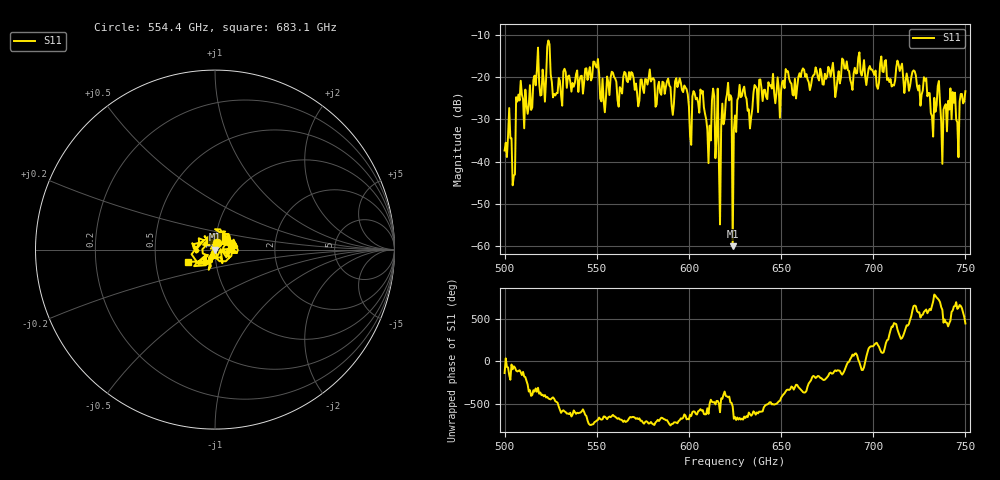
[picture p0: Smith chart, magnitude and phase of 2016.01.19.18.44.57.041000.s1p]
!Created with skrf (http://scikit-rf.org).
# GHz S RI R 50.0
!freq ReS11 ImS11
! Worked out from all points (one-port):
!   401 points, 500 GHz to 750 GHz, reference 50 ohm
!   lowest |S11| = -60.0 dB at 623.8 GHz (marker M1), VSWR 1.00, Z = 49.9 - j0.0161 ohm
!   |S11| at or under -10 dB: start of sweep to end of sweep
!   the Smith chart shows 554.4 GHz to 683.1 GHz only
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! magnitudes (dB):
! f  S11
! 500 GHz  -37.4
! 502.5 GHz  -27.3
! 504.4 GHz  -45.6
! 507.5 GHz  -24.1
! 520.6 GHz  -18.2
! 523.8 GHz  -11.3
! 526.9 GHz  -23.9
! 531.2 GHz  -26.7
! 549.4 GHz  -17.3
! 553.1 GHz  -20.3
! 558.8 GHz  -18.9
! 562.5 GHz  -22.3
! 593.8 GHz  -22.3
! 600.6 GHz  -33.9
! 607.5 GHz  -23.2
! 610.6 GHz  -40.3
! 614.4 GHz  -39.2
! 615.6 GHz  -22.7
! 621.9 GHz  -25.5
! 623.8 GHz  -60.0
! 625 GHz  -29.0
! 628.8 GHz  -24.4
! 633.1 GHz  -32.1
! 656.2 GHz  -24.1
! 687.5 GHz  -20.6
! 718.8 GHz  -20.6
! 738.8 GHz  -26.8
! 750 GHz  -23.3
